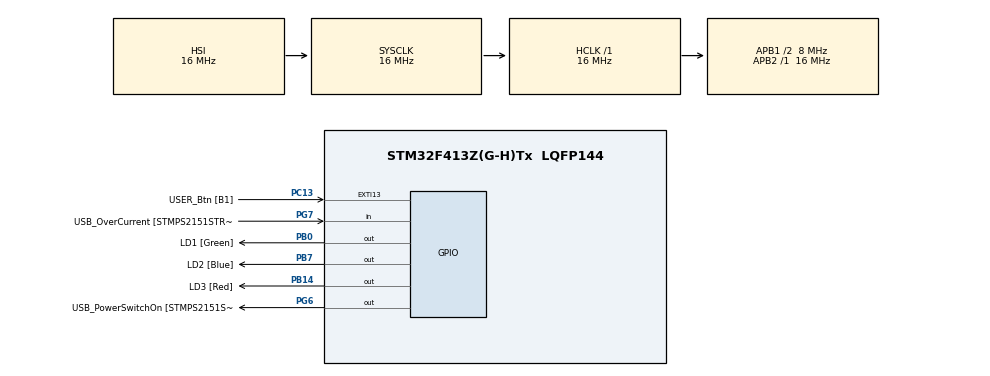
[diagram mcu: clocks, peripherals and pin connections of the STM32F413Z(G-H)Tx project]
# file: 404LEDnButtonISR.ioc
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Mcu.Family=STM32F4
Mcu.Name=STM32F413Z(G-H)Tx
Mcu.Package=LQFP144
NVIC.EXTI15_10_IRQn=true\:6\:0\:true\:false\:true\:true\:true\:true
NVIC.PriorityGroup=NVIC_PRIORITYGROUP_4
NVIC.TIM6_DAC_IRQn=true\:15\:0\:false\:false\:true\:false\:true\:true
NVIC.TimeBase=TIM6_DAC_IRQn
NVIC.TimeBaseIP=TIM6
PA10.GPIO_Label=USB_ID
PA10.Signal=USB_OTG_FS_ID
PA11.GPIO_Label=USB_DM
PA11.Signal=USB_OTG_FS_DM
PA12.GPIO_Label=USB_DP
PA12.Signal=USB_OTG_FS_DP
PA13.GPIO_Label=TMS
PA13.Signal=SYS_JTMS-SWDIO
PA14.GPIO_Label=TCK
PA14.Signal=SYS_JTCK-SWCLK
PA8.GPIO_Label=USB_SOF [TP1]
PA8.Signal=USB_OTG_FS_SOF
PA9.GPIO_Label=USB_VBUS
PA9.Signal=USB_OTG_FS_VBUS
PB0.GPIO_Label=LD1 [Green]
PB0.Signal=GPIO_Output
PB14.GPIO_Label=LD3 [Red]
PB14.Signal=GPIO_Output
PB3.GPIO_Label=SWO
PB3.Signal=SYS_JTDO-SWO
PB7.GPIO_Label=LD2 [Blue]
PB7.Signal=GPIO_Output
PC13.GPIO_Label=USER_Btn [B1]
PC13.Signal=GPXTI13
PC14-OSC32_IN.Signal=RCC_OSC32_IN
PC15-OSC32_OUT.Signal=RCC_OSC32_OUT
PD8.GPIO_Label=STLK_RX [STM32F103CBT6_PA3]
PD8.Signal=USART3_TX
PD9.GPIO_Label=STLK_TX [STM32F103CBT6_PA2]
PD9.Signal=USART3_RX
PG6.GPIO_Label=USB_PowerSwitchOn [STMPS2151STR_EN]
PG6.Signal=GPIO_Output
PG7.GPIO_Label=USB_OverCurrent [STMPS2151STR_FAULT]
PG7.Signal=GPIO_Input
PH0\ -\ OSC_IN.GPIO_Label=MCO
PH0\ -\ OSC_IN.Signal=RCC_OSC_IN
PH1\ -\ OSC_OUT.Signal=RCC_OSC_OUT
ProjectManager.HeapSize=0x200
ProjectManager.StackSize=0x400
ProjectManager.TargetToolchain=STM32CubeIDE
RCC.48MHZClocksFreq_Value=24000000
RCC.AHBFreq_Value=16000000
RCC.APB1CLKDivider=RCC_HCLK_DIV2
RCC.APB1Freq_Value=8000000
RCC.APB1TimFreq_Value=16000000
RCC.APB2Freq_Value=16000000
RCC.APB2TimFreq_Value=16000000
RCC.CortexFreq_Value=16000000
RCC.HCLKFreq_Value=16000000
RCC.HSE_VALUE=8000000
RCC.HSI_VALUE=16000000
RCC.PLLMUL=RCC_PLL_MUL9
RCC.PRESCALERUSB=RCC_USBCLKSOURCE_PLL_DIV1_5
RCC.SYSCLKFreq_VALUE=16000000
RCC.SYSCLKSourceVirtual=RCC_SYSCLKSOURCE_PLLCLK
RCC.USBFreq_Value=96000000
RCC.VCOOutputFreq_Value=192000000
VP_SYS_VS_tim6.Mode=TIM6
board=NUCLEO-F413ZH

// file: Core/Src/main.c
/* USER CODE BEGIN Header */
/**
  ******************************************************************************
  * @file           : main.c
  * @brief          : Main program body
  ******************************************************************************
  * @attention
  *
  * Copyright (c) 2024 STMicroelectronics.
  * All rights reserved.
  *
  * This software is licensed under terms that can be found in the LICENSE file
  * in the root directory of this software component.
  * If no LICENSE file comes with this software, it is provided AS-IS.
  *
  ******************************************************************************
  */
/* USER CODE END Header */
#include "main.h"

/* USER CODE BEGIN Includes */
#include <stdio.h>
#include "FreeRTOS.h"
#include "task.h"
/* USER CODE END Includes */

/* USER CODE BEGIN PV */
#define DWT_CTRL (*(volatile uint32_t*)0xE0001000)

TaskHandle_t LED1_task_handle;
TaskHandle_t LED2_task_handle;
TaskHandle_t LED3_task_handle;
TaskHandle_t BTN_task_handle;

TaskHandle_t next_task_handle = NULL;

BaseType_t status;
/* USER CODE END PV */

void SystemClock_Config(void);
static void MX_GPIO_Init(void);
/* USER CODE BEGIN PFP */

static void led_green_handler(void* parameters);
static void led_blue_handler(void* parameters);
static void led_red_handler(void* parameters);
void button_interrupt_handler(void);

/* USER CODE END PFP */

int main(void)
{

  /* MCU Configuration--------------------------------------------------------*/

  /* Reset of all peripherals, Initializes the Flash interface and the Systick. */
  HAL_Init();

  /* Configure the system clock */
  SystemClock_Config();

  /* Initialize all configured peripherals */
  MX_GPIO_Init();
  /* USER CODE BEGIN 2 */

  //DWT_CTRL |= (1<<0);

  SEGGER_SYSVIEW_Conf();

  SEGGER_SYSVIEW_Start();

  status = xTaskCreate(led_green_handler, "LED_green_task", 200, NULL, 3, &LED1_task_handle);

  configASSERT(status == pdPASS);

  next_task_handle = LED1_task_handle;

  status = xTaskCreate(led_blue_handler, "LED_blue_task", 200, NULL, 2, &LED2_task_handle);

  configASSERT(status == pdPASS);

  status = xTaskCreate(led_red_handler, "LED_red_task", 200, NULL, 1, &LED3_task_handle);

  configASSERT(status == pdPASS);

  //Start the FreeRTOS scheduler
  vTaskStartScheduler();

  /* USER CODE END 2 */

  /* Infinite loop */
  while (1)
  {

  }
}

void SystemClock_Config(void)
{
  RCC_OscInitTypeDef RCC_OscInitStruct = {0};
  RCC_ClkInitTypeDef RCC_ClkInitStruct = {0};

  /** Configure the main internal regulator output voltage
  */
  __HAL_RCC_PWR_CLK_ENABLE();
  __HAL_PWR_VOLTAGESCALING_CONFIG(PWR_REGULATOR_VOLTAGE_SCALE1);

  /** Initializes the RCC Oscillators according to the specified parameters
  * in the RCC_OscInitTypeDef structure.
  */
  RCC_OscInitStruct.OscillatorType = RCC_OSCILLATORTYPE_HSI;
  RCC_OscInitStruct.HSIState = RCC_HSI_ON;
  RCC_OscInitStruct.HSICalibrationValue = RCC_HSICALIBRATION_DEFAULT;
  RCC_OscInitStruct.PLL.PLLState = RCC_PLL_NONE;
  if (HAL_RCC_OscConfig(&RCC_OscInitStruct) != HAL_OK)
  {
    Error_Handler();
  }

  /** Initializes the CPU, AHB and APB buses clocks
  */
  RCC_ClkInitStruct.ClockType = RCC_CLOCKTYPE_HCLK|RCC_CLOCKTYPE_SYSCLK
                              |RCC_CLOCKTYPE_PCLK1|RCC_CLOCKTYPE_PCLK2;
  RCC_ClkInitStruct.SYSCLKSource = RCC_SYSCLKSOURCE_HSI;
  RCC_ClkInitStruct.AHBCLKDivider = RCC_SYSCLK_DIV1;
  RCC_ClkInitStruct.APB1CLKDivider = RCC_HCLK_DIV2;
  RCC_ClkInitStruct.APB2CLKDivider = RCC_HCLK_DIV1;

  if (HAL_RCC_ClockConfig(&RCC_ClkInitStruct, FLASH_LATENCY_0) != HAL_OK)
  {
    Error_Handler();
  }
}

static void MX_GPIO_Init(void)
{
  GPIO_InitTypeDef GPIO_InitStruct = {0};

  /* GPIO Ports Clock Enable */
  __HAL_RCC_GPIOC_CLK_ENABLE();
  __HAL_RCC_GPIOH_CLK_ENABLE();
  __HAL_RCC_GPIOB_CLK_ENABLE();
  __HAL_RCC_GPIOD_CLK_ENABLE();
  __HAL_RCC_GPIOG_CLK_ENABLE();
  __HAL_RCC_GPIOA_CLK_ENABLE();

  /*Configure GPIO pin Output Level */
  HAL_GPIO_WritePin(GPIOB, LD1_Pin|LD3_Pin|LD2_Pin, GPIO_PIN_RESET);

  /*Configure GPIO pin Output Level */
  HAL_GPIO_WritePin(USB_PowerSwitchOn_GPIO_Port, USB_PowerSwitchOn_Pin, GPIO_PIN_RESET);

  /*Configure GPIO pin : USER_Btn_Pin */
  GPIO_InitStruct.Pin = USER_Btn_Pin;
  GPIO_InitStruct.Mode = GPIO_MODE_IT_RISING;
  GPIO_InitStruct.Pull = GPIO_NOPULL;
  HAL_GPIO_Init(USER_Btn_GPIO_Port, &GPIO_InitStruct);

  /*Configure GPIO pins : LD1_Pin LD3_Pin LD2_Pin */
  GPIO_InitStruct.Pin = LD1_Pin|LD3_Pin|LD2_Pin;
  GPIO_InitStruct.Mode = GPIO_MODE_OUTPUT_PP;
  GPIO_InitStruct.Pull = GPIO_NOPULL;
  GPIO_InitStruct.Speed = GPIO_SPEED_FREQ_LOW;
  HAL_GPIO_Init(GPIOB, &GPIO_InitStruct);

  /*Configure GPIO pins : STLK_RX_Pin STLK_TX_Pin */
  GPIO_InitStruct.Pin = STLK_RX_Pin|STLK_TX_Pin;
  GPIO_InitStruct.Mode = GPIO_MODE_AF_PP;
  GPIO_InitStruct.Pull = GPIO_NOPULL;
  GPIO_InitStruct.Speed = GPIO_SPEED_FREQ_VERY_HIGH;
  GPIO_InitStruct.Alternate = GPIO_AF7_USART3;
  HAL_GPIO_Init(GPIOD, &GPIO_InitStruct);

  /*Configure GPIO pin : USB_PowerSwitchOn_Pin */
  GPIO_InitStruct.Pin = USB_PowerSwitchOn_Pin;
  GPIO_InitStruct.Mode = GPIO_MODE_OUTPUT_PP;
  GPIO_InitStruct.Pull = GPIO_NOPULL;
  GPIO_InitStruct.Speed = GPIO_SPEED_FREQ_LOW;
  HAL_GPIO_Init(USB_PowerSwitchOn_GPIO_Port, &GPIO_InitStruct);

  /*Configure GPIO pin : USB_OverCurrent_Pin */
  GPIO_InitStruct.Pin = USB_OverCurrent_Pin;
  GPIO_InitStruct.Mode = GPIO_MODE_INPUT;
  GPIO_InitStruct.Pull = GPIO_NOPULL;
  HAL_GPIO_Init(USB_OverCurrent_GPIO_Port, &GPIO_InitStruct);

  /*Configure GPIO pins : USB_SOF_Pin USB_ID_Pin USB_DM_Pin USB_DP_Pin */
  GPIO_InitStruct.Pin = USB_SOF_Pin|USB_ID_Pin|USB_DM_Pin|USB_DP_Pin;
  GPIO_InitStruct.Mode = GPIO_MODE_AF_PP;
  GPIO_InitStruct.Pull = GPIO_NOPULL;
  GPIO_InitStruct.Speed = GPIO_SPEED_FREQ_VERY_HIGH;
  GPIO_InitStruct.Alternate = GPIO_AF10_OTG_FS;
  HAL_GPIO_Init(GPIOA, &GPIO_InitStruct);

  /* EXTI interrupt init*/
  HAL_NVIC_SetPriority(EXTI15_10_IRQn, 6, 0);
  HAL_NVIC_EnableIRQ(EXTI15_10_IRQn);

}

/* USER CODE BEGIN 4 */

void button_interrupt_handler(void){

	traceISR_ENTER();
	xTaskNotifyFromISR(next_task_handle, 0, eNoAction,NULL);
	traceISR_EXIT();

}

static void led_green_handler(void* parameters){
	BaseType_t status_2;
	while(1){
		SEGGER_SYSVIEW_PrintfTarget("Toggling green LED");
		HAL_GPIO_TogglePin(GPIOB,LD1_Pin);
		status_2 = xTaskNotifyWait(0,0,NULL,pdMS_TO_TICKS(1000));
		if(status_2 == pdTRUE){
			portENTER_CRITICAL();
			next_task_handle = LED2_task_handle;
			HAL_GPIO_WritePin(GPIOB,LD1_Pin,GPIO_PIN_SET);
			SEGGER_SYSVIEW_PrintfTarget("Delete green LED task");
			portEXIT_CRITICAL();
			vTaskDelete(NULL);
		}
	}
}

static void led_blue_handler(void* parameters){
	BaseType_t status_2;
	while(1){
		SEGGER_SYSVIEW_PrintfTarget("Toggling blue LED");
		HAL_GPIO_TogglePin(GPIOB,LD2_Pin);
		status_2 = xTaskNotifyWait(0,0,NULL,pdMS_TO_TICKS(800));
		if(status_2 == pdTRUE){
			portENTER_CRITICAL();
			next_task_handle = LED3_task_handle;
			HAL_GPIO_WritePin(GPIOB,LD2_Pin,GPIO_PIN_SET);
			SEGGER_SYSVIEW_PrintfTarget("Delete blue LED task");
			portEXIT_CRITICAL();
			vTaskDelete(NULL);
		}
	}
}

static void led_red_handler(void* parameters){
	BaseType_t status_2;
	while(1){
		SEGGER_SYSVIEW_PrintfTarget("Toggling red LED");
		HAL_GPIO_TogglePin(GPIOB,LD3_Pin);
		status_2 = xTaskNotifyWait(0,0,NULL,pdMS_TO_TICKS(400));
		if(status_2 == pdTRUE){
			portENTER_CRITICAL();
			next_task_handle = NULL;
			HAL_GPIO_WritePin(GPIOB,LD3_Pin,GPIO_PIN_SET);
			SEGGER_SYSVIEW_PrintfTarget("Delete red LED task");
			portEXIT_CRITICAL();
			vTaskDelete(BTN_task_handle);
			vTaskDelete(NULL);
		}
	}
}

/* USER CODE END 4 */

void HAL_TIM_PeriodElapsedCallback(TIM_HandleTypeDef *htim)
{
  if (htim->Instance == TIM6) {
    HAL_IncTick();
  }
}

void Error_Handler(void)
{
  __disable_irq();
  while (1)
  {
  }
}
